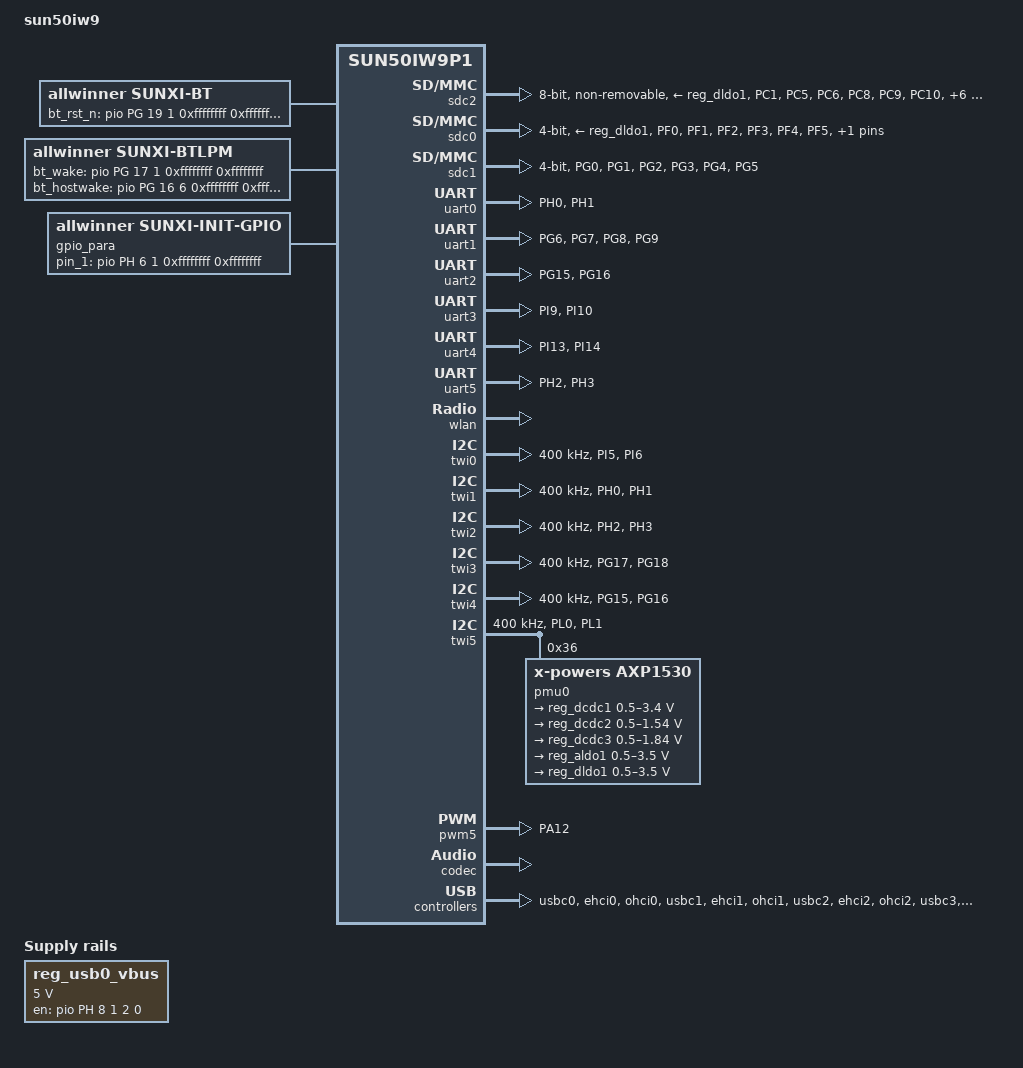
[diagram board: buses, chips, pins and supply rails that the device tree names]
//*
 * Allwinner Technology CO., Ltd. sun8iw19p1 soc board.
 *
 * soc board support.
 */

/dts-v1/;
/memreserve/ 0x48000000 0x01000000; /* atf */

#include "sun50iw9p1.dtsi"

/{
	model = "sun50iw9";
	compatible = "allwinner,h616", "arm,sun50iw9p1";
	
	reg_usb0_vbus: usb0-vbus {
		compatible = "regulator-fixed";
		gpio = <&pio PH 8 1 2 0 1>;
		regulator-name = "usb0-vbus";
		regulator-min-microvolt = <5000000>;
		regulator-max-microvolt = <5000000>;
		enable-active-high;
	};
	
	soc@03000000 {
		sdc2: sdmmc@04022000 {
			pinctrl-0 = <&sdc2_pins_a &sdc2_pins_c>;
			non-removable;
			bus-width = <8>;
			mmc-ddr-1_8v;
			mmc-hs200-1_8v;
			mmc-hs400-1_8v;
			no-sdio;
			no-sd;
			cap-mmc-highspeed;
			sunxi-power-save-mode;
			sunxi-dis-signal-vol-sw;
			max-frequency = <100000000>;
			ctl-spec-caps = <0x8>;
			vmmc-supply = <&reg_dldo1>;
			vqmmc-supply = <&reg_aldo1>;
			status = "okay";
		};
		
		sdc0: sdmmc@04020000 {
			pinctrl-0 = <&sdc0_pins_a>;
			bus-width = <4>;
			cd-gpios = <&pio PF 6 6 1 3 0xffffffff>;
			cd-used-24M;
			/*non-removable;*/
			/*broken-cd;*/
			/*cd-inverted*/
			/*data3-detect;*/
			cap-sd-highspeed;
			sd-uhs-sdr50;
			sd-uhs-ddr50;
			sd-uhs-sdr104;
			no-sdio;
			no-mmc;
			sunxi-power-save-mode;
			/*sunxi-dis-signal-vol-sw;*/
			max-frequency = <150000000>;
			ctl-spec-caps = <0x8>;
			vmmc-supply = <&reg_dldo1>;
			vqmmc33sw-supply = <&reg_dldo1>;
			vdmmc33sw-supply = <&reg_dldo1>;
			vqmmc18sw-supply = <&reg_aldo1>;
			vdmmc18sw-supply = <&reg_aldo1>;
			status = "okay";
		};
		
		sdc1: sdmmc@04021000 {
			pinctrl-0 = <&sdc1_pins_a>;
			bus-width = <4>;
			no-mmc;
			no-sd;
			cap-sd-highspeed;
			/*sd-uhs-sdr12*/
			/*sd-uhs-sdr25*/
			sd-uhs-sdr50;
			sd-uhs-ddr50;
			sd-uhs-sdr104;
			/*sunxi-power-save-mode;*/
			sunxi-dis-signal-vol-sw;
			sdio-used-1v8;
			cap-sdio-irq;
			keep-power-in-suspend;
			ignore-pm-notify;
			max-frequency = <150000000>;
			ctl-spec-caps = <0x8>;
			status = "okay";
		};
		
		uart0: uart@05000000 {
			pinctrl-names = "default", "sleep";
			pinctrl-0 = <&uart0_ph_pins>;
			pinctrl-1 = <&uart0_ph_sleep>;
			status = "okay";
		};
		
		uart1: uart@05000400 {
			pinctrl-names = "default", "sleep";
			pinctrl-0 = <&uart1_ph_pins>;
			pinctrl-1 = <&uart1_ph_sleep>;
			status = "okay";
		};
		
		uart2: uart@05000800 {
			pinctrl-names = "default", "sleep";
			pinctrl-0 = <&uart2_ph_pins>;
			pinctrl-1 = <&uart2_ph_sleep>;
			status = "okay";
		};
		
		uart3: uart@05000c00 {
			pinctrl-names = "default", "sleep";
			pinctrl-0 = <&uart3_ph_pins>;
			pinctrl-1 = <&uart3_ph_sleep>;
			status = "okay";
		};
		
		uart4: uart@05001000 {
			pinctrl-names = "default", "sleep";
			pinctrl-0 = <&uart4_ph_pins>;
			pinctrl-1 = <&uart4_ph_sleep>;
			status = "okay";
		};
		
		uart5: uart@05001400 {
			pinctrl-names = "default", "sleep";
			pinctrl-0 = <&uart5_ph_pins>;
			pinctrl-1 = <&uart5_ph_sleep>;
			status = "okay";
		};
		
		ac200: ac200 {
			tv_used = <1>;
			tv_twi_used = <1>;
			tv_twi_id = <3>;
			tv_twi_addr = <16>;
			tv_pwm_ch = <5>;
			status = "okay";
		};
		
		wlan: wlan {
			compatible = "allwinner,sunxi-wlan";
			clocks = <&clk_losc_out>;
			wlan_busnum = <1>;
			wlan_regon = <&pio PG 15 1 0xffffffff 0xffffffff 0>;
			wlan_hostwake = <&pio PG 12 6 0xffffffff 0xffffffff 0>;
			wlan_power;
			wlan_io_regulator;
			chip_en;
			power_en;
			status = "okay";
		};
		
		bt: bt {
			compatible = "allwinner,sunxi-bt";
			clocks = <&clk_losc_out>;
			bt_power;
			bt_io_regulator;
			bt_rst_n = <&pio PG 19 1 0xffffffff 0xffffffff 0>;
			status = "okay";
		};
		
		btlpm: btlpm {
			compatible = "allwinner,sunxi-btlpm";
			uart_index = <1>;
			bt_wake = <&pio PG 17 1 0xffffffff 0xffffffff 1>;
			bt_hostwake = <&pio PG 16 6 0xffffffff 0xffffffff 0>;
			status = "okay";
		};
		
		addr_mgt: addr_mgt {
			compatible = "allwinner,sunxi-addr_mgt";
			type_addr_wifi = <0x0>;
			type_addr_bt = <0x0>;
			type_addr_eth = <0x0>;
			status = "okay";
		};
		
		r_pio: pinctrl@07022000 {
			s_twi0_pins_a: s_twi0@0 {
				allwinner,pins = "PL0", "PL1";
				allwinner,pname = "s_twi0_scl", "s_twi0_sda";
				allwinner,function = "s_twi0";
				allwinner,muxsel = <3>;
				allwinner,drive = <1>;
				allwinner,pull = <1>;
			};
			s_twi0_pins_b: s_twi0@1 {
				allwinner,pins = "PL0", "PL1";
				allwinner,function = "io_disabled";
				allwinner,muxsel = <7>;
				allwinner,drive = <1>;
				allwinner,pull = <0>;
			};
		};
		
		pio: pinctrl@0300b000 {
			uart0_ph_pins: uart0-ph-pins {
				pins = "PH0", "PH1";
				function = "uart0";
				bias-pull-up;
			};
			
			uart0_ph_sleep: uart0-ph-sleep {
				pins = "PH0", "PH1";
				function = "gpio_in";
			};
			
			uart1_ph_pins: uart1-ph-pins {
				pins = "PG6", "PG7", "PG8", "PG9";
				function = "uart1";
			};
			
			uart1_ph_sleep: uart1-ph-sleep {
				pins = "PG6", "PG7", "PG8", "PG9";
				function = "gpio_in";
			};
			
			uart2_ph_pins: uart2-ph-pins {
				pins = "PG15", "PG16";
				function = "uart2";
			};
			
			uart2_ph_sleep: uart2-ph-sleep {
				pins = "PG15", "PG16";
				function = "gpio_in";
			};
			
			uart3_ph_pins: uart3-ph-pins {
				pins = "PI9", "PI10";
				function = "uart3";
			};
			
			uart3_ph_sleep: uart3-ph-sleep {
				pins = "PI9", "PI10";
				function = "gpio_in";
			};
			
			uart4_ph_pins: uart4-ph-pins {
				pins = "PI13", "PI14";
				function = "uart4";
			};
			
			uart4_ph_sleep: uart4-ph-sleep {
				pins = "PI13", "PI14";
				function = "gpio_in";
			};
			
			uart5_ph_pins: uart5-ph-pins {
				pins = "PH2", "PH3";
				function = "uart5";
			};
			
			uart5_ph_sleep: uart5-ph-sleep {
				pins = "PH2", "PH3";
				function = "gpio_in";
			};
			
			s_cir0_pins_a: s_cir0@0 {
				pins = "PH10";
				function = "ir";
				drive-strength = <10>;
				bias-pull-up;
			};
			
			s_cir0_pins_b: s_cir0@1 {
				pins = "PH10";
				function = "gpio_in";
			};
			
			spi1_pins_a: spi1@0 {
				allwinner,pins = "PH6", "PH7", "PH8";
				allwinner,pname = "spi1_sclk", "spi1_mosi", "spi1_miso";
				allwinner,function = "spi1";
				allwinner,muxsel = <4>;
				allwinner,drive = <2>;
				allwinner,pull = <0>;
			};
			
			spi1_pins_b: spi1@1 {
				allwinner,pins = "PH5", "PH9";
				allwinner,pname = "spi1_cs0", "spi1_cs1";
				allwinner,function = "spi1";
				allwinner,muxsel = <4>;
				allwinner,drive = <2>;
				allwinner,pull = <1>;
			};
			
			spi1_pins_c: spi1@2 {
				allwinner,pins = "PH5", "PH6", "PH7", "PH8", "PH9";
				allwinner,function = "gpio_in";
				allwinner,muxsel = <0>;
				allwinner,drive = <2>;
				allwinner,pull = <0>;
			};
			
			twi0_pins_a: twi0@0 {
				pins = "PI5", "PI6";
				function = "twi0";
				drive-strength = <10>;
				bias-pull-up;
			};
			
			twi0_pins_b: twi0@1 {
				pins = "PI5", "PI6";
				function = "gpio_in";
			};
			
			twi1_pins_a: twi1@0 {
				pins = "PH0", "PH1";
				function = "twi1";
				drive-strength = <10>;
				bias-pull-up;
			};
			
			twi1_pins_b: twi1@1 {
				pins = "PH0", "PH1";
				function = "gpio_in";
			};
			
			twi2_pins_a: twi2@0 {
				pins = "PH2", "PH3";
				function = "twi2";
				drive-strength = <10>;
				bias-pull-up;
			};
			
			twi2_pins_b: twi2@1 {
				pins = "PH2", "PH3";
				function = "gpio_in";
			};
			
			twi3_pins_a: twi3@0 {
				pins = "PG17", "PG18";
				function = "twi3";
				drive-strength = <10>;
				bias-pull-up;
			};
			
			twi3_pins_b: twi3@1 {
				pins = "PG17", "PG18";
				function = "gpio_in";
			};
			
			twi4_pins_a: twi4@0 {
				pins = "PG15", "PG16";
				function = "twi4";
				drive-strength = <10>;
				bias-pull-up;
			};
			
			twi4_pins_b: twi4@1 {
				pins = "PG15", "PG16";
				function = "gpio_in";
			};
			
			sdc0_pins_a: sdc0@0 {
				allwinner,pins = "PF0", "PF1", "PF2",
						 "PF3", "PF4", "PF5";
				allwinner,function = "sdc0";
				allwinner,muxsel = <2>;
				allwinner,drive = <3>;
				allwinner,pull = <1>;
			};
			
			sdc1_pins_a: sdc1@0 {
				allwinner,pins = "PG0", "PG1", "PG2",
						 "PG3", "PG4", "PG5";
				allwinner,function = "sdc1";
				allwinner,muxsel = <2>;
				allwinner,drive = <3>;
				allwinner,pull = <1>;
			};
			
			sdc2_pins_a: sdc2@0 {
				allwinner,pins = "PC1", "PC5", "PC6",
						 "PC8", "PC9", "PC10", "PC11",
						 "PC13", "PC14", "PC15", "PC16";
				allwinner,function = "sdc2";
				allwinner,muxsel = <3>;
				allwinner,drive = <3>;
				allwinner,pull = <1>;
			};
			
			sdc2_pins_c: sdc2@2 {
				allwinner,pins = "PC0";
				allwinner,function = "sdc2";
				allwinner,muxsel = <3>;
				allwinner,drive = <3>;
				allwinner,pull = <2>;
			};
			
			pwm5_pin_a: pwm5@0 {
				pins = "PA12";
				function = "pwm5";
				drive-strength = <10>;
				bias-pull-up;
			};
			
			pwm5_pin_b: pwm5@1 {
				pins = "PA12";
				function = "gpio_in";
			};
			
			gmac0_pins_a: gmac0@0 {
				pins = "PI0", "PI1", "PI2", "PI3",
					"PI4", "PI5", "PI6", "PI7",
					"PI8", "PI9", "PI10", "PI11",
					"PI12", "PI13", "PI14", "PI15";
				function = "gmac0";
				drive-strength = <30>;
				bias-pull-up;
			};
			
			gmac0_pins_b: gmac0@1 {
				pins = "PI0", "PI1", "PI2", "PI3",
					"PI4", "PI5", "PI6", "PI7",
					"PI8", "PI9", "PI10", "PI11",
					"PI12", "PI13", "PI14", "PI15";
				function = "gpio_in";
			};
			
			standby_red: standby@0 {
				allwinner,pins = "PH6";
				allwinner,function = "gpio_out";
				allwinner,muxsel = <1>;
				allwinner,data = <1>;
				allwinner,drive = <0>;
				allwinner,pull = <0>;
			};
			
			standby_blue: standby@1 {
				allwinner,pins = "PH7";
				allwinner,function = "gpio_out";
				allwinner,muxsel = <1>;
				allwinner,data = <0>;
				allwinner,drive = <2>;
				allwinner,pull = <2>;
			};
		};
		
		spi0: spi@05010000 {
			spi_slave_mode = <0>;
			status = "disabled";
		};
		
		spi1: spi@05011000 {
			pinctrl-names = "default", "sleep";
			pinctrl-0 = <&spi1_pins_a &spi1_pins_b>;
			pinctrl-1 = <&spi1_pins_c>;
			spi_slave_mode = <0>;
			status = "disabled";
			spi_board1 {
				device_type = "spi_board1";
				compatible = "rohm,dh2228fv";
				spi-max-frequency = <100000000>;
				reg = <0x0>;
				spi-rx-bus-width = <0x1>;
				spi-tx-bus-width = <0x1>;
				status = "disabled";
			};
		};
		
		twi0: twi@0x05002000{
			clock-frequency = <400000>;
			pinctrl-0 = <&twi0_pins_a>;
			pinctrl-1 = <&twi0_pins_b>;
			pinctrl-names = "default", "sleep";
			twi_drv_used = <1>;
			status = "okay";
		};
		
		twi1: twi@0x05002400{
			clock-frequency = <400000>;
			pinctrl-0 = <&twi1_pins_a>;
			pinctrl-1 = <&twi1_pins_b>;
			pinctrl-names = "default", "sleep";
			twi_drv_used = <1>;
			status = "okay";
		};
		
		twi2: twi@0x05002800{
			clock-frequency = <400000>;
			pinctrl-0 = <&twi2_pins_a>;
			pinctrl-1 = <&twi2_pins_b>;
			pinctrl-names = "default", "sleep";
			twi_drv_used = <1>;
			status = "okay";
		};
		
		twi3: twi@0x05002c00{
			clock-frequency = <400000>;
			pinctrl-0 = <&twi3_pins_a>;
			pinctrl-1 = <&twi3_pins_b>;
			pinctrl-names = "default", "sleep";
			twi_drv_used = <1>;
			status = "okay";
		};
		
		twi4: twi@0x05003000{
			clock-frequency = <400000>;
			pinctrl-0 = <&twi4_pins_a>;
			pinctrl-1 = <&twi4_pins_b>;
			pinctrl-names = "default", "sleep";
			twi_drv_used = <1>;
			status = "okay";
		};
		
		twi5: twi@0x07081400{
			clock-frequency = <400000>;
			pinctrl-0 = <&s_twi0_pins_a>;
			pinctrl-1 = <&s_twi0_pins_b>;
			pinctrl-names = "default", "sleep";
			no_suspend = <1>;
			twi_drv_used = <0>;
			status = "okay";
		};
		
		pwm5: pwm5@300a000 {
			pinctrl-names = "active", "sleep";
			pinctrl-0 = <&pwm5_pin_a>;
			pinctrl-1 = <&pwm5_pin_b>;
			status = "okay";
		};
		
		codec:codec@0x05096000 {
			lineout_vol = <31>;
			pa_pin_max = <1>;
			pa_pin_0 = <&pio PH 5 GPIO_ACTIVE_HIGH>;
			pa_pin_level_0 = <1>;
			pa_pin_msleep_0 = <0>;
			tx_hub_en;
			status = "okay";
		};

		/*
		 * usb_port_type: usb mode. 0-device, 1-host, 2-otg.
		 * usb_detect_type: usb hotplug detect mode. 0-none, 1-vbus/id detect, 2-id/dpdm detect.
		 * usb_detect_mode: 0-thread scan, 1-id gpio interrupt.
		 * usb_id_gpio: gpio for id detect.
		 * usb_det_vbus_gpio: gpio for id detect. gpio or "axp_ctrl";
		 * usb_wakeup_suspend：0-SUPER_STANDBY, 1-USB_STANDBY.
		 */
		usbc0:usbc0@0 {
			device_type = "usbc0";
			usb_port_type = <1>;  /* Changed to host mode */
			usb_detect_type = <1>;
			usb_detect_mode = <0>;
			usb_id_gpio = <&pio PH 4 GPIO_ACTIVE_HIGH>;  /* Added GPIO for ID detect */
			usb_det_vbus_gpio = <&pio PH 5 GPIO_ACTIVE_HIGH>; /* Added GPIO for VBUS detect */
			usb_regulator_io = "nocare"; 
			usb_wakeup_suspend = <0>;
			usb_luns = <3>;
			usb_serial_unique = <0>;
			usb_serial_number = "20080411";
			status = "okay";
		};
		
		ehci0:ehci0-controller@0x05101000 {
			drvvbus-supply = <&reg_usb0_vbus>;
			status = "okay";
		};
		
		ohci0:ohci0-controller@0x05101400 {
			drvvbus-supply = <&reg_usb0_vbus>;
			status = "okay";
		};
		
		usbc1:usbc1@0 {
			device_type = "usbc1";
			usb_port_type = <1>;
			usb_detect_type = <1>;
			usb_detect_mode = <0>;
			usb_regulator_io = "nocare";
			usb_wakeup_suspend = <0>;
			status = "okay";
		};
		
		ehci1:ehci1-controller@0x05200000 {
			drvvbus-supply = <&reg_usb0_vbus>;
			status = "okay";
		};
		
		ohci1:ohci1-controller@0x05200400 {
			drvvbus-supply = <&reg_usb0_vbus>;
			status = "okay";
		};
		
		usbc2:usbc2@0 {
			device_type = "usbc2";
			usb_port_type = <1>;
			usb_detect_type = <1>;
			usb_detect_mode = <0>;
			usb_regulator_io = "nocare";
			usb_wakeup_suspend = <0>;
			status = "okay";
		};
		
		ehci2:ehci2-controller@0x05310000 {
			drvvbus-supply = <&reg_usb0_vbus>;
			status = "okay";
		};
		
		ohci2:ohci2-controller@0x05310400 {
			drvvbus-supply = <&reg_usb0_vbus>;
			status = "okay";
		};
		
		usbc3:usbc3@0 {
			device_type = "usbc3";
			usb_port_type = <1>;
			usb_detect_type = <1>;
			usb_detect_mode = <0>;
			usb_regulator_io = "nocare";
			usb_wakeup_suspend = <0>;
			status = "okay";
		};
		
		ehci3:ehci3-controller@0x05311000 {
			drvvbus-supply = <&reg_usb0_vbus>;
			status = "okay";
		};
		
		ohci3:ohci3-controller@0x05311400 {
			drvvbus-supply = <&reg_usb0_vbus>;
			status = "okay";
		};
		
		disp: disp@01000000 {
			disp_init_enable = <1>;
			disp_mode = <0>;
			
			screen0_output_type = <3>;
			screen0_output_mode = <10>;
			screen0_output_format = <0>;
			screen0_output_bits = <0>;
			screen0_output_eotf = <4>;
			screen0_output_cs = <257>;
			screen0_output_dvi_hdmi = <2>;
			screen0_output_range = <2>;
			screen0_output_scan = <0>;
			screen0_output_aspect_ratio = <8>;
			
			screen1_output_type = <2>;
			screen1_output_mode = <11>;
			screen1_output_format = <1>;
			screen1_output_bits = <0>;
			screen1_output_eotf = <4>;
			screen1_output_cs = <260>;
			screen1_output_dvi_hdmi = <0>;
			screen1_output_range = <2>;
			screen1_output_scan = <0>;
			screen1_output_aspect_ratio = <8>;
			
			dev0_output_type = <4>;
			dev0_output_mode = <10>;
			dev0_screen_id = <0>;
			dev0_do_hpd = <1>;
			
			dev1_output_type = <2>;
			dev1_output_mode = <11>;
			dev1_screen_id = <1>;
			dev1_do_hpd = <1>;
			
			dev2_output_type = <0>;
			def_output_dev = <0>;
			hdmi_mode_check = <1>;
			
			fb0_format = <0>;
			fb0_width = <1280>;
			fb0_height = <720>;
			fb1_format = <0>;
			fb1_width = <0>;
			fb1_height = <0>;
			
			chn_cfg_mode = <1>;
			disp_para_zone = <1>;
		};
		
		tv0: tv0@01c94000 {
			status = "okay";
			interface = <1>;
			dac_type0 = <0>;
			dac_src0 = <0>;
		};
		
		hdmi: hdmi@06000000 {
			hdmi_used = <1>;
			aldo1-supply = <&reg_aldo1>;
			dcdc1-supply = <&reg_dcdc1>;
			hdmi_power_cnt = <2>;
			hdmi_power0 = "aldo1";
			hdmi_power1 = "dcdc1";
			hdmi_hdcp_enable = <1>;
			hdmi_hdcp22_enable = <1>;
			hdmi_cts_compatibility = <0>;
			hdmi_cec_support = <1>;
			hdmi_cec_super_standby = <0>;
			ddc_en_io_ctrl = <0>;
			power_io_ctrl = <0>;
		};
		
		gpu: gpu@1800000 {
			gpu_idle = <1>;
			dvfs_status = <1>;
			operating-points = <
				/* kHz    uV */
				600000 950000
				576000 950000
				540000 950000
				504000 950000
				456000 950000
				420000 950000
				384000 950000
				360000 950000
				336000 950000
				306000 950000
			>;
		};
		
		gpio_para {
			device_type = "gpio_para";
			status = "okay";
			compatible = "allwinner,sunxi-init-gpio";
			gpio_num = <1>;
			gpio_pin_1 = <&pio PH 6 1 0xffffffff 0xffffffff 1>;
			normal_led = "gpio_pin_1";
			easy_light_used = <1>;
			normal_led_light = <1>;
		};
	};
	
	box_start_os0 {
		compatible = "allwinner,box_start_os";
		start_type = <0x1>;
		irkey_used = <0x0>;
		pmukey_used = <0x0>;
		pmukey_num = <0x0>;
		led_power = <0x0>;
		led_state = <0x0>;
	};
};

&aliases {
	pmu0 = &pmu0;
	standby_param = &standby_param;
};

&s_cir0 {
	s_cir0_used = <1>;
	pinctrl-names = "default", "sleep";
	pinctrl-0 = <&s_cir0_pins_a>;
	pinctrl-1 = <&s_cir0_pins_b>;
	ir_power_key_code0 = <0x40>;
	ir_addr_code0 = <0xfe01>;
	ir_power_key_code1 = <0x1a>;
	ir_addr_code1 = <0xfb04>;
	ir_power_key_code2 = <0xf2>;
	ir_addr_code2 = <0x2992>;
	ir_power_key_code3 = <0x57>;
	ir_addr_code3 = <0x9f00>;
	ir_power_key_code4 = <0xdc>;
	ir_addr_code4 = <0x4cb3>;
	ir_power_key_code5 = <0x18>;
	ir_addr_code5 = <0xff00>;
	ir_power_key_code6 = <0xdc>;
	ir_addr_code6 = <0xdd22>;
	ir_power_key_code7 = <0x0d>;
	ir_addr_code7 = <0xbc00>;
	ir_power_key_code8 = <0x4d>;
	ir_addr_code8 = <0x4040>;
	wakeup-source;
};

&cpu_trips {
	cpu_crit: cpu_crit@0 {
		temperature = <115000>;
		type = "critical";
		hysteresis = <0>;
	};
};

&twi5 {
	no_suspend = <1>;
	status = "okay";
	pmu0: pmu{
		compatible = "x-powers,axp1530";
		reg = <0x36>;
		wakeup-source;
		pmu_hot_shutdown = <1>;
		standby_param: standby_param {
			vdd-cpua = <0x2>;
			vdd-sys= <0x1>;
			vcc-io = <0x10>;
			vcc-dram = <0x4>;
		};
		regulators{
			reg_dcdc1: dcdc1 {
				regulator-name = "axp1530-dcdc1";
				regulator-min-microvolt = <500000>;
				regulator-max-microvolt = <3400000>;
				regulator-step-delay-us = <25>;
				regulator-final-delay-us = <50>;
				regulator-always-on;
			};
			reg_dcdc2: dcdc2 {
				regulator-name = "axp1530-dcdc2";
				regulator-min-microvolt = <500000>;
				regulator-max-microvolt = <1540000>;
				regulator-step-delay-us = <25>;
				regulator-final-delay-us = <50>;
				regulator-ramp-delay = <200>;
				regulator-always-on;
			};
			reg_dcdc3: dcdc3 {
				regulator-name = "axp1530-dcdc3";
				regulator-min-microvolt = <500000>;
				regulator-max-microvolt = <1840000>;
				regulator-step-delay-us = <25>;
				regulator-final-delay-us = <50>;
				regulator-always-on;
			};
			reg_aldo1: ldo1 {
				regulator-name = "axp1530-aldo1";
				regulator-min-microvolt = <500000>;
				regulator-max-microvolt = <3500000>;
				regulator-step-delay-us = <25>;
				regulator-final-delay-us = <50>;
				regulator-always-on;
			};
			reg_dldo1: ldo2 {
				regulator-name = "axp1530-dldo1";
				regulator-min-microvolt = <500000>;
				regulator-max-microvolt = <3500000>;
				regulator-step-delay-us = <25>;
				regulator-final-delay-us = <50>;
				regulator-always-on;
			};
		};
	};
};

&cpu0 {
	cpu-supply = <&reg_dcdc2>;
};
